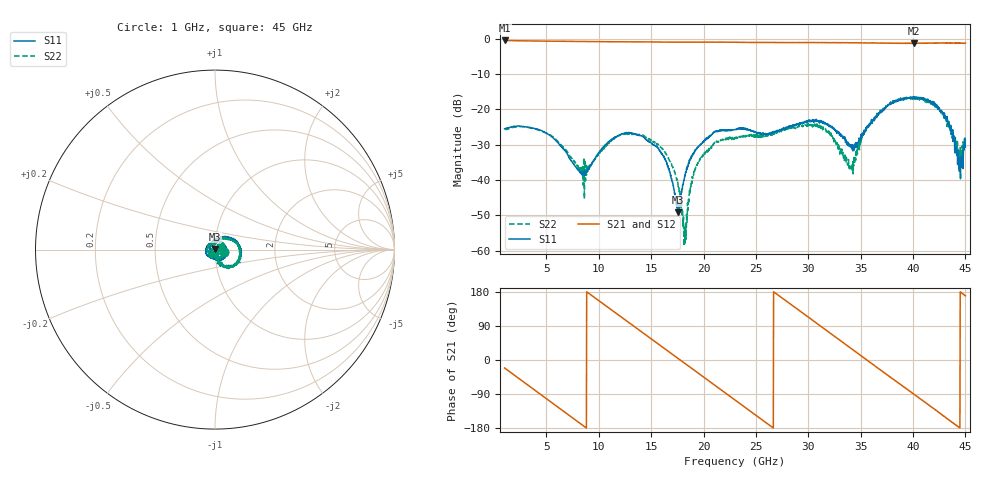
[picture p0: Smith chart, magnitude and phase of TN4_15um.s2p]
!Keysight Technologies,N5247B,MY61255062,A.19.80.06
!Date: Thursday, May 21, 2026 11:33:30
!Correction: S11(Cdelta 2-Port  )
!S21(Cdelta 2-Port  )
!S12(Cdelta 2-Port  )
!S22(Cdelta 2-Port  )
!S2P File: Measurements: S11, S21, S12, S22:
# Hz S  dB  R 50
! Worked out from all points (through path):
!   1601 points, 1 GHz to 45 GHz, reference 50 ohm
!   highest |S21| = -0.49 dB at 1 GHz (marker M1); lowest = -1.4 dB at 40.05 GHz (marker M2)
!   group delay of S21, straight-line fit = 56.1 ps
!   lowest |S11| = -49.2 dB at 17.58 GHz (marker M3), VSWR 1.01, Z = 50.2 + j0.304 ohm
!   |S11| at or under -10 dB: start of sweep to end of sweep
!   |S22| runs from -58.8 to -16.1 dB; largest |S21 - S12| = 0.012
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1e9  -25.47 -14.1  -0.49 -21.1  -0.49 -21.1  -25.60 -14.5
4.6025e9  -26.14 -93.9  -0.67 -94.3  -0.68 -94.3  -26.32 -93.0
8.3425e9  -38.03 -105.2  -0.79 -170.1  -0.79 -170.1  -37.54 -115.9
1.02125e10  -31.43 -71.0  -0.83 152.2  -0.83 152.2  -31.84 -79.3
1.23575e10  -26.85 -106.3  -0.88 109.0  -0.88 109.0  -26.93 -109.5
1.5685e10  -31.03 -172.5  -0.94 41.8  -0.95 41.8  -30.11 -169.5
1.75825e10  -49.17 60.6  -0.97 3.7  -0.97 3.7  -42.15 166.0
1.8215e10  -38.67 -9.9  -0.97 -9.0  -0.97 -9.0  -57.09 -88.9
1.8875e10  -33.39 -36.2  -0.97 -22.3  -0.97 -22.3  -41.03 -69.0
1.95625e10  -30.35 -54.6  -0.97 -36.1  -0.97 -36.2  -34.69 -76.1
2.135e10  -26.08 -96.1  -0.97 -72.3  -0.97 -72.4  -29.22 -111.8
2.3e10  -25.71 -132.5  -0.99 -105.9  -1.00 -105.9  -28.13 -144.9
2.6685e10  -26.46 94.8  -1.06 180.0  -1.07 180.0  -27.06 84.0
3.03425e10  -23.35 -30.7  -1.09 106.2  -1.08 106.2  -24.27 -24.1
3.2185e10  -24.80 -82.5  -1.12 68.9  -1.12 68.9  -26.76 -76.8
3.41375e10  -31.20 -175.9  -1.14 29.3  -1.14 29.5  -36.38 165.4
3.54025e10  -26.04 103.1  -1.17 3.6  -1.17 3.5  -26.81 68.7
3.7685e10  -18.69 30.7  -1.27 -42.2  -1.27 -42.2  -18.53 22.4
4.005e10  -16.33 -18.2  -1.35 -89.5  -1.29 -89.6  -16.90 -22.4
4.27175e10  -20.27 -72.1  -1.18 -143.6  -1.22 -143.6  -21.36 -68.4
4.44775e10  -35.58 -17.4  -1.14 -179.2  -1.20 -179.7  -33.25 -26.4
4.5e10  -30.69 26.4  -1.23 169.4  -1.24 169.6  -28.60 23.1
